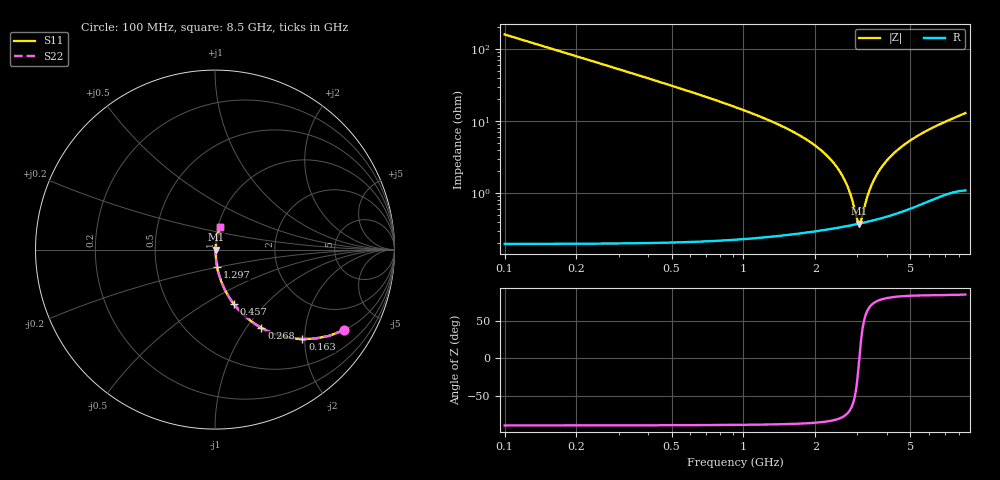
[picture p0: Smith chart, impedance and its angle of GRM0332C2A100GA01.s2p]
!Murata Part Number: GRM0332C2A100GA01
!These Parameters are Measured in Series Mode Connection
!Data Generated on Mar 30, 2021
!  o--ll--o
!Port1  Port2
!  o------o
!Operation Temp=25[degC], DC Bias Voltage=0[V]
!Freq. Start=100[MHz] Stop=9[GHz] 401[Steps]
# Hz S RI R 50
!Freq.(Hz) S11(Real) S11(Imag) S21(Real) S21(Imag) S12(Real) S12(Imag) S22(Real) S22(Imag)
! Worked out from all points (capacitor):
!   401 points, 100 MHz to 8.5 GHz, reference 50 ohm
!   read as one part in series: C = 10 pF near 142 MHz
!   lowest |Z| = 378 mohm at 3.061 GHz (marker M1)
!   series resonance near 3.058 GHz, so ESL is about 270 pH
!   S11 on the Smith chart (normalised r, x): 100 MHz: 1.00, -3.18; 163 MHz: 1.00, -1.95; 268 MHz: 1.00, -1.18; 457 MHz: 1.00, -0.68; 1.297 GHz: 1.00, -0.20; 8.5 GHz: 1.02, +0.26
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1e8  0.7163 -0.4502  0.2837 0.4502  0.2837 0.4502  0.7163 -0.4502
1.63e8  0.4866 -0.4988  0.5134 0.4988  0.5134 0.4988  0.4866 -0.4988
2.68e8  0.2584 -0.4361  0.7416 0.4361  0.7416 0.4361  0.2584 -0.4361
4.57e8  0.1053 -0.3039  0.8947 0.3039  0.8947 0.3039  0.1053 -0.3039
7.93e8  0.0358 -0.1799  0.9642 0.1799  0.9642 0.1799  0.0358 -0.1799
1.297e9  0.0124 -0.099  0.9876 0.099  0.9876 0.099  0.0124 -0.099
1.507e9  0.00889 -0.0789  0.9911 0.0789  0.9911 0.0789  0.00889 -0.0789
2.074e9  0.00469 -0.041  0.9953 0.041  0.9953 0.041  0.00469 -0.041
2.452e9  0.0038 -0.023  0.9962 0.023  0.9962 0.023  0.0038 -0.023
2.725e9  0.00363 -0.0119  0.9964 0.0119  0.9964 0.0119  0.00363 -0.0119
2.914e9  0.00366 -0.00499  0.9963 0.00499  0.9963 0.00499  0.00366 -0.00499
2.998e9  0.00371 -0.00205  0.9963 0.00205  0.9963 0.00205  0.00371 -0.00205
3.061e9  0.00376 9.73e-05  0.9962 -9.73e-05  0.9962 -9.73e-05  0.00376 9.73e-05
3.124e9  0.00382 0.0022  0.9962 -0.0022  0.9962 -0.0022  0.00382 0.0022
3.334e9  0.00409 0.00893  0.9959 -0.00893  0.9959 -0.00893  0.00409 0.00893
3.544e9  0.00445 0.0153  0.9956 -0.0153  0.9956 -0.0153  0.00445 0.0153
3.859e9  0.00514 0.0242  0.9949 -0.0242  0.9949 -0.0242  0.00514 0.0242
4.3e9  0.00636 0.0359  0.9936 -0.0359  0.9936 -0.0359  0.00636 0.0359
4.909e9  0.00849 0.0507  0.9915 -0.0507  0.9915 -0.0507  0.00849 0.0507
5.707e9  0.0119 0.0684  0.9881 -0.0684  0.9881 -0.0684  0.0119 0.0684
7.114e9  0.0191 0.0969  0.9809 -0.0969  0.9809 -0.0969  0.0191 0.0969
8.5e9  0.0265 0.1237  0.9735 -0.1237  0.9735 -0.1237  0.0265 0.1237
